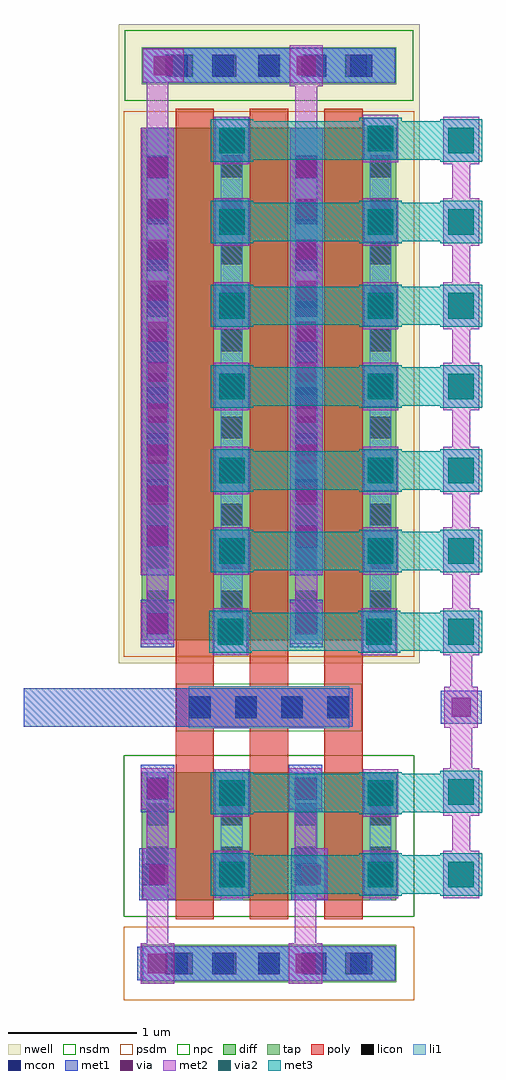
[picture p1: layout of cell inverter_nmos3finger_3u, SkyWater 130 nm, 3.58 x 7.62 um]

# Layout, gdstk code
import gdstk
lib = gdstk.Library(unit=1e-6, precision=1e-09)
def R(c, l, rs):  # rectangles x0, y0, x1, y1
    for r in rs: c.add(gdstk.rectangle(r[:2], r[2:], *l))
def A(c, l, x, y, w, h, nx, ny, dx, dy):  # array of equal rectangles
    R(c, l, [(x+i*dx, y+j*dy, x+i*dx+w, y+j*dy+h) for i in range(nx) for j in range(ny)])
nwell = (64, 20)
diff = (65, 20)
tap = (65, 44)
poly = (66, 20)
licon = (66, 44)
li1 = (67, 20)
mcon = (67, 44)
met1 = (68, 20)
via = (68, 44)
met2 = (69, 20)
via2 = (69, 44)
met3 = (70, 20)
nsdm = (93, 44)
psdm = (94, 20)
npc = (95, 20)

pfet_01v8_cdns_754877090 = lib.new_cell('pfet_01v8_CDNS_754877090688')
R(pfet_01v8_cdns_754877090, nwell, [(-0.445,-0.18,1.905,4.81)])
A(pfet_01v8_cdns_754877090, diff, 0, 0, 0.3, 4, 3, 1, 0.58, 0)
R(pfet_01v8_cdns_754877090, diff, [(-0.265,0,0,4), (0.3,0,0.58,4), (0.88,0,1.16,4), (1.46,0,1.725,4)])
R(pfet_01v8_cdns_754877090, tap, [(-0.265,4.34,1.725,4.63)])
A(pfet_01v8_cdns_754877090, poly, 0, -0.15, 0.3, 0.055, 3, 2, 0.58, 4.245)
A(pfet_01v8_cdns_754877090, poly, 0, -0.095, 0.3, 0.095, 3, 2, 0.58, 4.095)
A(pfet_01v8_cdns_754877090, poly, 0, 0, 0.3, 4, 3, 1, 0.58, 0)
A(pfet_01v8_cdns_754877090, licon, -0.225, 0.215, 0.17, 0.17, 4, 11, 0.58, 0.34)
A(pfet_01v8_cdns_754877090, licon, -0.035, 4.4, 0.17, 0.17, 5, 1, 0.34, 0)
A(pfet_01v8_cdns_754877090, li1, -0.225, 0, 0.17, 4, 4, 1, 0.58, 0)
R(pfet_01v8_cdns_754877090, li1, [(-0.255,4.35,1.715,4.62)])
A(pfet_01v8_cdns_754877090, mcon, -0.075, 4.4, 0.17, 0.17, 5, 1, 0.36, 0)
R(pfet_01v8_cdns_754877090, met1, [(-0.255,4.35,1.715,4.62)])
R(pfet_01v8_cdns_754877090, nsdm, [(-0.395,4.21,1.855,4.76)])
R(pfet_01v8_cdns_754877090, psdm, [(-0.405,-0.13,1.865,4.13)])

nfet_01v8_cdns_754877090 = lib.new_cell('nfet_01v8_CDNS_754877090689')
A(nfet_01v8_cdns_754877090, diff, 0, 0, 0.3, 1, 3, 1, 0.58, 0)
R(nfet_01v8_cdns_754877090, diff, [(-0.265,0,0,1), (0.3,0,0.58,1), (0.88,0,1.16,1), (1.46,0,1.725,1)])
R(nfet_01v8_cdns_754877090, tap, [(-0.265,1.35,1.725,1.64)])
A(nfet_01v8_cdns_754877090, poly, 0, -0.15, 0.3, 0.055, 3, 2, 0.58, 1.245)
A(nfet_01v8_cdns_754877090, poly, 0, -0.095, 0.3, 0.095, 3, 2, 0.58, 1.095)
A(nfet_01v8_cdns_754877090, poly, 0, 0, 0.3, 1, 3, 1, 0.58, 0)
A(nfet_01v8_cdns_754877090, licon, -0.225, 0.245, 0.17, 0.17, 4, 2, 0.58, 0.34)
A(nfet_01v8_cdns_754877090, licon, -0.035, 1.41, 0.17, 0.17, 5, 1, 0.34, 0)
A(nfet_01v8_cdns_754877090, li1, -0.225, 0, 0.17, 1, 4, 1, 0.58, 0)
R(nfet_01v8_cdns_754877090, li1, [(-0.255,1.36,1.715,1.63)])
A(nfet_01v8_cdns_754877090, mcon, -0.075, 1.41, 0.17, 0.17, 5, 1, 0.36, 0)
R(nfet_01v8_cdns_754877090, met1, [(-0.255,1.36,1.715,1.63)])
R(nfet_01v8_cdns_754877090, nsdm, [(-0.405,-0.13,1.865,1.13)])
R(nfet_01v8_cdns_754877090, psdm, [(-0.405,1.21,1.865,1.78)])

polyconn_cdns_7548770906 = lib.new_cell('polyConn_CDNS_754877090687')
R(polyconn_cdns_7548770906, poly, [(-0.675,-0.165,0.675,0.165)])
A(polyconn_cdns_7548770906, licon, -0.625, -0.085, 0.17, 0.17, 4, 1, 0.36, 0)
R(polyconn_cdns_7548770906, li1, [(-0.625,-0.165,0.625,0.165)])
A(polyconn_cdns_7548770906, mcon, -0.625, -0.085, 0.17, 0.17, 4, 1, 0.36, 0)
R(polyconn_cdns_7548770906, met1, [(-0.655,-0.145,0.655,0.145)])
R(polyconn_cdns_7548770906, npc, [(-0.725,-0.185,0.725,0.185)])

l1m1_c_cdns_754877090680 = lib.new_cell('L1M1_C_CDNS_754877090680')
R(l1m1_c_cdns_754877090680, li1, [(-0.085,-0.085,0.085,0.085)])
R(l1m1_c_cdns_754877090680, mcon, [(-0.085,-0.085,0.085,0.085)])
R(l1m1_c_cdns_754877090680, met1, [(-0.115,-0.185,0.115,0.185)])

m1m2_c_cdns_754877090681 = lib.new_cell('M1M2_C_CDNS_754877090681')
R(m1m2_c_cdns_754877090681, met1, [(-0.16,-0.13,0.16,0.13)])
R(m1m2_c_cdns_754877090681, via, [(-0.075,-0.075,0.075,0.075)])
R(m1m2_c_cdns_754877090681, met2, [(-0.13,-0.16,0.13,0.16)])

m1m2_c_cdns_754877090682 = lib.new_cell('M1M2_C_CDNS_754877090682')
R(m1m2_c_cdns_754877090682, met1, [(-0.13,-0.185,0.13,0.185)])
R(m1m2_c_cdns_754877090682, via, [(-0.075,-0.075,0.075,0.075)])
R(m1m2_c_cdns_754877090682, met2, [(-0.13,-0.16,0.13,0.16)])

m1m2_c_cdns_754877090684 = lib.new_cell('M1M2_C_CDNS_7548770906844')
R(m1m2_c_cdns_754877090684, met1, [(-0.085,-0.195,0.175,0.205)])
R(m1m2_c_cdns_754877090684, via, [(-0.03,-0.075,0.12,0.075)])
R(m1m2_c_cdns_754877090684, met2, [(-0.085,-0.195,0.175,0.205)])

l1m1_c_cdns_754877090684 = lib.new_cell('L1M1_C_CDNS_7548770906845')
R(l1m1_c_cdns_754877090684, li1, [(-0.08,-0.195,0.09,0.205)])
R(l1m1_c_cdns_754877090684, mcon, [(-0.08,-0.085,0.09,0.085)])
R(l1m1_c_cdns_754877090684, met1, [(-0.105,-0.195,0.175,0.205)])

l1m1_c_cdns_754877090683 = lib.new_cell('L1M1_C_CDNS_7548770906836')
R(l1m1_c_cdns_754877090683, li1, [(-0.085,-0.15,0.085,0.15)])
R(l1m1_c_cdns_754877090683, mcon, [(-0.085,-0.085,0.085,0.085)])
R(l1m1_c_cdns_754877090683, met1, [(-0.13,-0.16,0.13,0.16)])

m1m2_c_cdns_754877090683 = lib.new_cell('M1M2_C_CDNS_7548770906837')
R(m1m2_c_cdns_754877090683, met1, [(-0.13,-0.16,0.13,0.16)])
R(m1m2_c_cdns_754877090683, via, [(-0.075,-0.075,0.075,0.075)])
R(m1m2_c_cdns_754877090683, met2, [(-0.14,-0.185,0.14,0.185)])

c_l1m1_c_cdns_754877090684 = lib.new_cell('L1M1_C_CDNS_7548770906846')
R(c_l1m1_c_cdns_754877090684, li1, [(-0.085,-1.74,0.085,1.75)])
A(c_l1m1_c_cdns_754877090684, mcon, -0.085, -1.525, 0.17, 0.17, 1, 9, 0, 0.36)
R(c_l1m1_c_cdns_754877090684, met1, [(-0.13,-1.74,0.13,1.75)])

c_m1m2_c_cdns_754877090684 = lib.new_cell('M1M2_C_CDNS_7548770906847')
R(c_m1m2_c_cdns_754877090684, met1, [(0,-0.13,0.32,0.13)])
R(c_m1m2_c_cdns_754877090684, via, [(0.085,-0.075,0.235,0.075)])
R(c_m1m2_c_cdns_754877090684, met2, [(0,-0.13,0.32,0.13)])

m2m3_c_cdns_754877090681 = lib.new_cell('M2M3_C_CDNS_7548770906819')
R(m2m3_c_cdns_754877090681, met2, [(-0.14,-0.185,0.14,0.185)])
R(m2m3_c_cdns_754877090681, via2, [(-0.1,-0.1,0.1,0.1)])
R(m2m3_c_cdns_754877090681, met3, [(-0.165,-0.165,0.165,0.165)])

c_m1m2_c_cdns_754877090684_ = lib.new_cell('M1M2_C_CDNS_7548770906848')
R(c_m1m2_c_cdns_754877090684_, met1, [(-0.13,-1.74,0.13,1.75)])
A(c_m1m2_c_cdns_754877090684_, via, -0.075, -1.515, 0.15, 0.15, 1, 10, 0, 0.32)
R(c_m1m2_c_cdns_754877090684_, met2, [(-0.13,-1.74,0.13,1.75)])

l1m1_c_cdns_754877090682 = lib.new_cell('L1M1_C_CDNS_7548770906820')
R(l1m1_c_cdns_754877090682, li1, [(-0.085,-0.125,0.085,0.125)])
R(l1m1_c_cdns_754877090682, mcon, [(-0.085,-0.045,0.085,0.125)])
R(l1m1_c_cdns_754877090682, met1, [(-0.13,-0.12,0.13,0.2)])

c_m1m2_c_cdns_754877090682 = lib.new_cell('M1M2_C_CDNS_7548770906821')
R(c_m1m2_c_cdns_754877090682, met1, [(-0.13,-0.125,0.13,0.195)])
R(c_m1m2_c_cdns_754877090682, via, [(-0.075,-0.035,0.075,0.115)])
R(c_m1m2_c_cdns_754877090682, met2, [(-0.14,-0.145,0.14,0.225)])

m2m3_c_cdns_754877090682 = lib.new_cell('M2M3_C_CDNS_7548770906822')
R(m2m3_c_cdns_754877090682, met2, [(-0.14,-0.145,0.14,0.225)])
R(m2m3_c_cdns_754877090682, via2, [(-0.1,-0.06,0.1,0.14)])
R(m2m3_c_cdns_754877090682, met3, [(-0.165,-0.125,0.165,0.205)])

inverter_nmos3finger_3u = lib.new_cell('inverter_nmos3finger_3u')
R(inverter_nmos3finger_3u, met1, [(1.845,0.215,1.985,0.355), (0.9,0.78,1.185,1.185), (2.09,0.78,2.375,1.185), (3.31,2.205,3.45,2.345), (0.07,2.215,0.21,2.355), (0.915,3.315,1.175,6.81), (2.075,3.315,2.335,6.81), (2.655,6.56,2.915,6.885), (1.845,7.225,1.985,7.365)])
inverter_nmos3finger_3u.add(gdstk.FlexPath([(2.495,2.66),(2.495,1.93)], 0.3, ends="flush", simple_path=True, layer=66, datatype=20))  # poly
inverter_nmos3finger_3u.add(gdstk.FlexPath([(1.915,2.66),(1.915,1.93)], 0.3, ends="flush", simple_path=True, layer=66, datatype=20))  # poly
inverter_nmos3finger_3u.add(gdstk.FlexPath([(1.335,1.93),(1.335,2.66)], 0.3, ends="flush", simple_path=True, layer=66, datatype=20))  # poly
inverter_nmos3finger_3u.add(gdstk.FlexPath([(1.625,1.78),(1.625,1.615)], 0.17, ends="flush", simple_path=True, layer=67, datatype=20))  # li1
inverter_nmos3finger_3u.add(gdstk.FlexPath([(1.625,2.81),(1.625,2.975)], 0.17, ends="flush", simple_path=True, layer=67, datatype=20))  # li1
inverter_nmos3finger_3u.add(gdstk.FlexPath([(2.205,2.81),(2.205,2.94)], 0.17, ends="flush", simple_path=True, layer=67, datatype=20))  # li1
inverter_nmos3finger_3u.add(gdstk.FlexPath([(1.045,2.81),(1.045,2.94)], 0.17, ends="flush", simple_path=True, layer=67, datatype=20))  # li1
inverter_nmos3finger_3u.add(gdstk.FlexPath([(1.045,1.78),(1.045,1.65)], 0.17, ends="flush", simple_path=True, layer=67, datatype=20))  # li1
inverter_nmos3finger_3u.add(gdstk.FlexPath([(1.915,2.285),(0,2.285)], 0.3, ends=(0.655, 0), simple_path=True, layer=68, datatype=20))  # met1
inverter_nmos3finger_3u.add(gdstk.FlexPath([(3.415,2.975),(3.415,6.71)], 0.14, ends="flush", simple_path=True, layer=69, datatype=20))  # met2
inverter_nmos3finger_3u.add(gdstk.FlexPath([(3.415,2.875),(3.415,2.85)], 0.17, ends=(0, 0.085), simple_path=True, layer=69, datatype=20))  # met2
inverter_nmos3finger_3u.add(gdstk.FlexPath([(3.415,2.975),(3.415,2.875)], 0.17, ends=(0, 0.085), simple_path=True, layer=69, datatype=20))  # met2
inverter_nmos3finger_3u.add(gdstk.FlexPath([(3.415,2.875),(3.415,2.85)], 0.14, ends="flush", simple_path=True, layer=69, datatype=20))  # met2
inverter_nmos3finger_3u.add(gdstk.FlexPath([(3.415,2.875),(3.415,2.975)], 0.14, ends="flush", simple_path=True, layer=69, datatype=20))  # met2
inverter_nmos3finger_3u.add(gdstk.FlexPath([(3.415,1.62),(3.415,1.625)], 0.14, ends="flush", simple_path=True, layer=69, datatype=20))  # met2
inverter_nmos3finger_3u.add(gdstk.FlexPath([(3.415,1.625),(3.415,2.275)], 0.17, ends="flush", simple_path=True, layer=69, datatype=20))  # met2
inverter_nmos3finger_3u.add(gdstk.FlexPath([(3.415,0.98),(3.415,1.62)], 0.14, ends="flush", simple_path=True, layer=69, datatype=20))  # met2
inverter_nmos3finger_3u.add(gdstk.FlexPath([(3.415,2.285),(3.42,2.285)], 0.17, ends=(0.085, 0), simple_path=True, layer=69, datatype=20))  # met2
inverter_nmos3finger_3u.add(gdstk.FlexPath([(3.415,2.85),(3.415,2.285)], 0.17, ends=(0, 0.085), simple_path=True, layer=69, datatype=20))  # met2
inverter_nmos3finger_3u.add(gdstk.FlexPath([(3.415,1.62),(3.415,1.625)], 0.17, ends="flush", simple_path=True, layer=69, datatype=20))  # met2
inverter_nmos3finger_3u.add(gdstk.FlexPath([(2.205,2.94),(2.205,7.295)], 0.17, ends="flush", simple_path=True, layer=69, datatype=20))  # met2
inverter_nmos3finger_3u.add(gdstk.FlexPath([(1.045,7.295),(0.93,7.295)], 0.17, ends=(0.085, 0), simple_path=True, layer=69, datatype=20))  # met2
inverter_nmos3finger_3u.add(gdstk.FlexPath([(2.2,1.65),(2.2,0.285)], 0.17, ends="flush", simple_path=True, layer=69, datatype=20))  # met2
inverter_nmos3finger_3u.add(gdstk.FlexPath([(1.045,2.94),(1.045,7.295)], 0.17, ends=(0, 0.085), simple_path=True, layer=69, datatype=20))  # met2
inverter_nmos3finger_3u.add(gdstk.FlexPath([(1.045,1.65),(1.045,0.285)], 0.17, ends="flush", simple_path=True, layer=69, datatype=20))  # met2
inverter_nmos3finger_3u.add(gdstk.FlexPath([(1.625,6.71),(3.415,6.71)], 0.3, ends="flush", simple_path=True, layer=70, datatype=20))  # met3
inverter_nmos3finger_3u.add(gdstk.FlexPath([(1.625,6.075),(3.415,6.075)], 0.3, ends="flush", simple_path=True, layer=70, datatype=20))  # met3
inverter_nmos3finger_3u.add(gdstk.FlexPath([(1.625,5.42),(3.415,5.42)], 0.3, ends="flush", simple_path=True, layer=70, datatype=20))  # met3
inverter_nmos3finger_3u.add(gdstk.FlexPath([(1.625,4.79),(3.415,4.79)], 0.3, ends="flush", simple_path=True, layer=70, datatype=20))  # met3
inverter_nmos3finger_3u.add(gdstk.FlexPath([(1.625,4.135),(3.415,4.135)], 0.3, ends="flush", simple_path=True, layer=70, datatype=20))  # met3
inverter_nmos3finger_3u.add(gdstk.FlexPath([(3.41,3.505),(1.625,3.505)], 0.3, ends="flush", simple_path=True, layer=70, datatype=20))  # met3
inverter_nmos3finger_3u.add(gdstk.FlexPath([(1.615,2.875),(3.365,2.875)], 0.3, ends="flush", simple_path=True, layer=70, datatype=20))  # met3
inverter_nmos3finger_3u.add(gdstk.FlexPath([(3.38,0.98),(1.625,0.98)], 0.3, ends="flush", simple_path=True, layer=70, datatype=20))  # met3
inverter_nmos3finger_3u.add(gdstk.FlexPath([(3.38,1.615),(3.38,1.62)], 0.3, ends=(0.15, 0), simple_path=True, layer=70, datatype=20))  # met3
inverter_nmos3finger_3u.add(gdstk.FlexPath([(1.625,1.615),(3.38,1.615)], 0.3, ends=(0, 0.15), simple_path=True, layer=70, datatype=20))  # met3
inverter_nmos3finger_3u.add(gdstk.Reference(pfet_01v8_cdns_754877090, (1.185,2.81)))
inverter_nmos3finger_3u.add(gdstk.Reference(nfet_01v8_cdns_754877090, (1.185,1.78), x_reflection=True))
inverter_nmos3finger_3u.add(gdstk.Reference(polyconn_cdns_7548770906, (1.915,2.285)))
inverter_nmos3finger_3u.add(gdstk.Reference(l1m1_c_cdns_754877090680, (1.625,6.71)))
inverter_nmos3finger_3u.add(gdstk.Reference(l1m1_c_cdns_754877090680, (1.625,6.075)))
inverter_nmos3finger_3u.add(gdstk.Reference(l1m1_c_cdns_754877090680, (1.625,5.42)))
inverter_nmos3finger_3u.add(gdstk.Reference(l1m1_c_cdns_754877090680, (1.625,4.79)))
inverter_nmos3finger_3u.add(gdstk.Reference(l1m1_c_cdns_754877090680, (1.625,4.135)))
inverter_nmos3finger_3u.add(gdstk.Reference(l1m1_c_cdns_754877090680, (1.625,3.505)))
inverter_nmos3finger_3u.add(gdstk.Reference(l1m1_c_cdns_754877090680, (1.615,2.875)))
inverter_nmos3finger_3u.add(gdstk.Reference(l1m1_c_cdns_754877090680, (1.625,0.98)))
inverter_nmos3finger_3u.add(gdstk.Reference(l1m1_c_cdns_754877090680, (2.205,2.94)))
inverter_nmos3finger_3u.add(gdstk.Reference(l1m1_c_cdns_754877090680, (2.2,1.65)))
inverter_nmos3finger_3u.add(gdstk.Reference(l1m1_c_cdns_754877090680, (1.045,2.94)))
inverter_nmos3finger_3u.add(gdstk.Reference(l1m1_c_cdns_754877090680, (1.625,1.615)))
inverter_nmos3finger_3u.add(gdstk.Reference(l1m1_c_cdns_754877090680, (1.045,1.65)))
inverter_nmos3finger_3u.add(gdstk.Reference(m1m2_c_cdns_754877090681, (3.415,2.285)))
inverter_nmos3finger_3u.add(gdstk.Reference(m1m2_c_cdns_754877090681, (2.205,7.295)))
inverter_nmos3finger_3u.add(gdstk.Reference(m1m2_c_cdns_754877090681, (2.2,0.285)))
inverter_nmos3finger_3u.add(gdstk.Reference(m1m2_c_cdns_754877090681, (1.045,0.285)))
inverter_nmos3finger_3u.add(gdstk.Reference(m1m2_c_cdns_754877090682, (1.625,6.71)))
inverter_nmos3finger_3u.add(gdstk.Reference(m1m2_c_cdns_754877090682, (1.625,6.075)))
inverter_nmos3finger_3u.add(gdstk.Reference(m1m2_c_cdns_754877090682, (1.625,5.42)))
inverter_nmos3finger_3u.add(gdstk.Reference(m1m2_c_cdns_754877090682, (1.625,4.79)))
inverter_nmos3finger_3u.add(gdstk.Reference(m1m2_c_cdns_754877090682, (1.625,4.135)))
inverter_nmos3finger_3u.add(gdstk.Reference(m1m2_c_cdns_754877090682, (1.625,3.505)))
inverter_nmos3finger_3u.add(gdstk.Reference(m1m2_c_cdns_754877090682, (1.615,2.875)))
inverter_nmos3finger_3u.add(gdstk.Reference(m1m2_c_cdns_754877090682, (1.625,0.98)))
inverter_nmos3finger_3u.add(gdstk.Reference(m1m2_c_cdns_754877090682, (2.205,2.94)))
inverter_nmos3finger_3u.add(gdstk.Reference(m1m2_c_cdns_754877090682, (1.045,2.94)))
inverter_nmos3finger_3u.add(gdstk.Reference(m1m2_c_cdns_754877090682, (2.2,1.65)))
inverter_nmos3finger_3u.add(gdstk.Reference(m1m2_c_cdns_754877090682, (1.625,1.615)))
inverter_nmos3finger_3u.add(gdstk.Reference(m1m2_c_cdns_754877090682, (1.045,1.65)))
inverter_nmos3finger_3u.add(gdstk.Reference(m1m2_c_cdns_754877090684, (1.01,0.98)))
inverter_nmos3finger_3u.add(gdstk.Reference(m1m2_c_cdns_754877090684, (2.2,0.98)))
inverter_nmos3finger_3u.add(gdstk.Reference(l1m1_c_cdns_754877090684, (1.01,0.98)))
inverter_nmos3finger_3u.add(gdstk.Reference(l1m1_c_cdns_754877090684, (2.2,0.98)))
inverter_nmos3finger_3u.add(gdstk.Reference(l1m1_c_cdns_754877090683, (2.785,4.79)))
inverter_nmos3finger_3u.add(gdstk.Reference(l1m1_c_cdns_754877090683, (2.785,5.42)))
inverter_nmos3finger_3u.add(gdstk.Reference(l1m1_c_cdns_754877090683, (2.785,6.075)))
inverter_nmos3finger_3u.add(gdstk.Reference(l1m1_c_cdns_754877090683, (2.785,4.135)))
inverter_nmos3finger_3u.add(gdstk.Reference(l1m1_c_cdns_754877090683, (2.785,3.505)))
inverter_nmos3finger_3u.add(gdstk.Reference(l1m1_c_cdns_754877090683, (2.775,2.875)))
inverter_nmos3finger_3u.add(gdstk.Reference(l1m1_c_cdns_754877090683, (2.785,0.98)))
inverter_nmos3finger_3u.add(gdstk.Reference(l1m1_c_cdns_754877090683, (2.785,1.615)))
inverter_nmos3finger_3u.add(gdstk.Reference(m1m2_c_cdns_754877090683, (2.785,4.79)))
inverter_nmos3finger_3u.add(gdstk.Reference(m1m2_c_cdns_754877090683, (2.785,5.42)))
inverter_nmos3finger_3u.add(gdstk.Reference(m1m2_c_cdns_754877090683, (2.785,6.075)))
inverter_nmos3finger_3u.add(gdstk.Reference(m1m2_c_cdns_754877090683, (2.785,4.135)))
inverter_nmos3finger_3u.add(gdstk.Reference(m1m2_c_cdns_754877090683, (2.785,3.505)))
inverter_nmos3finger_3u.add(gdstk.Reference(m1m2_c_cdns_754877090683, (2.775,2.875)))
inverter_nmos3finger_3u.add(gdstk.Reference(m1m2_c_cdns_754877090683, (2.785,0.98)))
inverter_nmos3finger_3u.add(gdstk.Reference(m1m2_c_cdns_754877090683, (2.785,1.615)))
inverter_nmos3finger_3u.add(gdstk.Reference(c_l1m1_c_cdns_754877090684, (2.205,5.06)))
inverter_nmos3finger_3u.add(gdstk.Reference(c_l1m1_c_cdns_754877090684, (1.045,5.06)))
inverter_nmos3finger_3u.add(gdstk.Reference(c_m1m2_c_cdns_754877090684, (0.93,7.295)))
inverter_nmos3finger_3u.add(gdstk.Reference(m2m3_c_cdns_754877090681, (2.785,4.79)))
inverter_nmos3finger_3u.add(gdstk.Reference(m2m3_c_cdns_754877090681, (2.785,5.42)))
inverter_nmos3finger_3u.add(gdstk.Reference(m2m3_c_cdns_754877090681, (2.785,6.075)))
inverter_nmos3finger_3u.add(gdstk.Reference(m2m3_c_cdns_754877090681, (3.415,6.71)))
inverter_nmos3finger_3u.add(gdstk.Reference(m2m3_c_cdns_754877090681, (3.415,6.075)))
inverter_nmos3finger_3u.add(gdstk.Reference(m2m3_c_cdns_754877090681, (3.415,5.42)))
inverter_nmos3finger_3u.add(gdstk.Reference(m2m3_c_cdns_754877090681, (3.415,4.79)))
inverter_nmos3finger_3u.add(gdstk.Reference(m2m3_c_cdns_754877090681, (2.785,4.135)))
inverter_nmos3finger_3u.add(gdstk.Reference(m2m3_c_cdns_754877090681, (2.785,3.505)))
inverter_nmos3finger_3u.add(gdstk.Reference(m2m3_c_cdns_754877090681, (3.415,4.135)))
inverter_nmos3finger_3u.add(gdstk.Reference(m2m3_c_cdns_754877090681, (3.415,3.505)))
inverter_nmos3finger_3u.add(gdstk.Reference(m2m3_c_cdns_754877090681, (1.625,6.71)))
inverter_nmos3finger_3u.add(gdstk.Reference(m2m3_c_cdns_754877090681, (1.625,6.075)))
inverter_nmos3finger_3u.add(gdstk.Reference(m2m3_c_cdns_754877090681, (1.625,5.42)))
inverter_nmos3finger_3u.add(gdstk.Reference(m2m3_c_cdns_754877090681, (1.625,4.79)))
inverter_nmos3finger_3u.add(gdstk.Reference(m2m3_c_cdns_754877090681, (1.625,4.135)))
inverter_nmos3finger_3u.add(gdstk.Reference(m2m3_c_cdns_754877090681, (1.625,3.505)))
inverter_nmos3finger_3u.add(gdstk.Reference(m2m3_c_cdns_754877090681, (2.775,2.875)))
inverter_nmos3finger_3u.add(gdstk.Reference(m2m3_c_cdns_754877090681, (3.415,2.875)))
inverter_nmos3finger_3u.add(gdstk.Reference(m2m3_c_cdns_754877090681, (1.615,2.875)))
inverter_nmos3finger_3u.add(gdstk.Reference(m2m3_c_cdns_754877090681, (2.785,0.98)))
inverter_nmos3finger_3u.add(gdstk.Reference(m2m3_c_cdns_754877090681, (3.415,0.98)))
inverter_nmos3finger_3u.add(gdstk.Reference(m2m3_c_cdns_754877090681, (1.625,0.98)))
inverter_nmos3finger_3u.add(gdstk.Reference(m2m3_c_cdns_754877090681, (2.785,1.615)))
inverter_nmos3finger_3u.add(gdstk.Reference(m2m3_c_cdns_754877090681, (3.415,1.625)))
inverter_nmos3finger_3u.add(gdstk.Reference(m2m3_c_cdns_754877090681, (1.625,1.615)))
inverter_nmos3finger_3u.add(gdstk.Reference(c_m1m2_c_cdns_754877090684_, (2.205,5.06)))
inverter_nmos3finger_3u.add(gdstk.Reference(c_m1m2_c_cdns_754877090684_, (1.045,5.06)))
inverter_nmos3finger_3u.add(gdstk.Reference(l1m1_c_cdns_754877090682, (2.785,6.685)))
inverter_nmos3finger_3u.add(gdstk.Reference(c_m1m2_c_cdns_754877090682, (2.785,6.685)))
inverter_nmos3finger_3u.add(gdstk.Reference(m2m3_c_cdns_754877090682, (2.785,6.685)))

lib.write_gds('inverter_nmos3finger_3u.gds')
